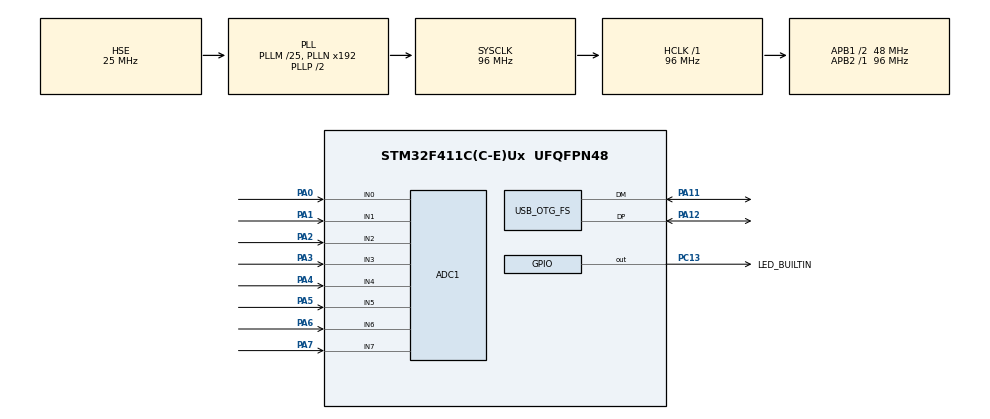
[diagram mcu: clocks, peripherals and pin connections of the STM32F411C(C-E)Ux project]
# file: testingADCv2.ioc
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ADC1.Channel-0\#ChannelRegularConversion=ADC_CHANNEL_0
ADC1.Channel-1\#ChannelRegularConversion=ADC_CHANNEL_0
ADC1.Channel-2\#ChannelRegularConversion=ADC_CHANNEL_0
ADC1.Channel-3\#ChannelRegularConversion=ADC_CHANNEL_0
ADC1.Channel-4\#ChannelRegularConversion=ADC_CHANNEL_0
ADC1.Channel-5\#ChannelRegularConversion=ADC_CHANNEL_0
ADC1.Channel-6\#ChannelRegularConversion=ADC_CHANNEL_0
ADC1.Channel-7\#ChannelRegularConversion=ADC_CHANNEL_0
ADC1.NbrOfConversion=8
ADC1.NbrOfConversionFlag=1
ADC1.Rank-0\#ChannelRegularConversion=1
ADC1.Rank-1\#ChannelRegularConversion=2
ADC1.Rank-2\#ChannelRegularConversion=3
ADC1.Rank-3\#ChannelRegularConversion=4
ADC1.Rank-4\#ChannelRegularConversion=5
ADC1.Rank-5\#ChannelRegularConversion=6
ADC1.Rank-6\#ChannelRegularConversion=7
ADC1.Rank-7\#ChannelRegularConversion=8
ADC1.SamplingTime-0\#ChannelRegularConversion=ADC_SAMPLETIME_56CYCLES
ADC1.SamplingTime-1\#ChannelRegularConversion=ADC_SAMPLETIME_3CYCLES
ADC1.SamplingTime-2\#ChannelRegularConversion=ADC_SAMPLETIME_3CYCLES
ADC1.SamplingTime-3\#ChannelRegularConversion=ADC_SAMPLETIME_3CYCLES
ADC1.SamplingTime-4\#ChannelRegularConversion=ADC_SAMPLETIME_3CYCLES
ADC1.SamplingTime-5\#ChannelRegularConversion=ADC_SAMPLETIME_3CYCLES
ADC1.SamplingTime-6\#ChannelRegularConversion=ADC_SAMPLETIME_3CYCLES
ADC1.SamplingTime-7\#ChannelRegularConversion=ADC_SAMPLETIME_3CYCLES
ADC1.master=1
Dma.ADC1.0.Direction=DMA_PERIPH_TO_MEMORY
Dma.ADC1.0.FIFOMode=DMA_FIFOMODE_DISABLE
Dma.ADC1.0.Instance=DMA2_Stream0
Dma.ADC1.0.MemDataAlignment=DMA_MDATAALIGN_HALFWORD
Dma.ADC1.0.MemInc=DMA_MINC_ENABLE
Dma.ADC1.0.Mode=DMA_NORMAL
Dma.ADC1.0.PeriphDataAlignment=DMA_PDATAALIGN_HALFWORD
Dma.ADC1.0.PeriphInc=DMA_PINC_DISABLE
Dma.ADC1.0.Priority=DMA_PRIORITY_LOW
Dma.Request0=ADC1
Mcu.Family=STM32F4
Mcu.Name=STM32F411C(C-E)Ux
Mcu.Package=UFQFPN48
NVIC.ADC_IRQn=true\:0\:0\:false\:false\:true\:true\:true\:true
NVIC.DMA2_Stream0_IRQn=true\:0\:0\:false\:false\:true\:false\:true\:true
NVIC.OTG_FS_IRQn=true\:0\:0\:false\:false\:true\:true\:true\:true
NVIC.PriorityGroup=NVIC_PRIORITYGROUP_4
NVIC.TIM1_TRG_COM_TIM11_IRQn=true\:0\:0\:false\:false\:true\:true\:true\:true
NVIC.TIM1_UP_TIM10_IRQn=true\:0\:0\:false\:false\:true\:true\:true\:true
PA0-WKUP.Signal=ADCx_IN0
PA1.Signal=ADCx_IN1
PA11.Mode=Device_Only
PA11.Signal=USB_OTG_FS_DM
PA12.Mode=Device_Only
PA12.Signal=USB_OTG_FS_DP
PA13.Mode=Serial_Wire
PA13.Signal=SYS_JTMS-SWDIO
PA14.Mode=Serial_Wire
PA14.Signal=SYS_JTCK-SWCLK
PA2.Signal=ADCx_IN2
PA3.Signal=ADCx_IN3
PA4.Signal=ADCx_IN4
PA5.Signal=ADCx_IN5
PA6.Signal=ADCx_IN6
PA7.Signal=ADCx_IN7
PC13-ANTI_TAMP.GPIO_Label=LED_BUILTIN
PC13-ANTI_TAMP.Signal=GPIO_Output
PC14-OSC32_IN.Mode=LSE-External-Oscillator
PC14-OSC32_IN.Signal=RCC_OSC32_IN
PC15-OSC32_OUT.Mode=LSE-External-Oscillator
PC15-OSC32_OUT.Signal=RCC_OSC32_OUT
PH0\ -\ OSC_IN.Mode=HSE-External-Oscillator
PH0\ -\ OSC_IN.Signal=RCC_OSC_IN
PH1\ -\ OSC_OUT.Mode=HSE-External-Oscillator
PH1\ -\ OSC_OUT.Signal=RCC_OSC_OUT
ProjectManager.HeapSize=0x200
ProjectManager.StackSize=0x400
ProjectManager.TargetToolchain=STM32CubeIDE
RCC.48MHZClocksFreq_Value=48000000
RCC.AHBFreq_Value=96000000
RCC.APB1CLKDivider=RCC_HCLK_DIV2
RCC.APB1Freq_Value=48000000
RCC.APB1TimFreq_Value=96000000
RCC.APB2Freq_Value=96000000
RCC.APB2TimFreq_Value=96000000
RCC.CortexFreq_Value=96000000
RCC.HCLKFreq_Value=96000000
RCC.HSE_VALUE=25000000
RCC.HSI_VALUE=16000000
RCC.PLLM=25
RCC.SYSCLKFreq_VALUE=96000000
RCC.SYSCLKSource=RCC_SYSCLKSOURCE_PLLCLK
RCC.VCOOutputFreq_Value=192000000
SH.ADCx_IN0.0=ADC1_IN0,IN0
SH.ADCx_IN1.0=ADC1_IN1,IN1
SH.ADCx_IN2.0=ADC1_IN2,IN2
SH.ADCx_IN3.0=ADC1_IN3,IN3
SH.ADCx_IN4.0=ADC1_IN4,IN4
SH.ADCx_IN5.0=ADC1_IN5,IN5
SH.ADCx_IN6.0=ADC1_IN6,IN6
SH.ADCx_IN7.0=ADC1_IN7,IN7
TIM10.Period=23999
TIM11.Period=23999
TIM11.Prescaler=0
USB_DEVICE.APP_RX_DATA_SIZE=512
USB_DEVICE.APP_TX_DATA_SIZE=512
USB_DEVICE.CLASS_NAME_FS=CDC
USB_DEVICE.VirtualMode=Cdc
USB_DEVICE.VirtualModeFS=Cdc_FS
USB_OTG_FS.VirtualMode=Device_Only
VP_TIM10_VS_ClockSourceINT.Mode=Enable_Timer
VP_TIM11_VS_ClockSourceINT.Mode=Enable_Timer
VP_USB_DEVICE_VS_USB_DEVICE_CDC_FS.Mode=CDC_FS
board=custom

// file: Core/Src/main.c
/* USER CODE BEGIN Header */
/**
  ******************************************************************************
  * @file           : main.c
  * @brief          : Main program body
  ******************************************************************************
  * @attention
  *
  * Copyright (c) 2025 STMicroelectronics.
  * All rights reserved.
  *
  * This software is licensed under terms that can be found in the LICENSE file
  * in the root directory of this software component.
  * If no LICENSE file comes with this software, it is provided AS-IS.
  *
  ******************************************************************************
  */
/* USER CODE END Header */
#include "main.h"
#include "usb_device.h"

/* USER CODE BEGIN Includes */
#include "usbd_cdc_if.h"
/* USER CODE END Includes */

/* USER CODE BEGIN PM */
#define ADC_MAX_CHANNELS 8

typedef union{
	float f;
	int i32;
	unsigned int ui32;
	short i16[2];
	unsigned short ui16[2];
	char i8[4];
	unsigned char ui8[4];
}u_conv;

/* USER CODE END PM */

ADC_HandleTypeDef hadc1;
DMA_HandleTypeDef hdma_adc1;

TIM_HandleTypeDef htim10;
TIM_HandleTypeDef htim11;

/* USER CODE BEGIN PV */
uint8_t bufTx[8];
uint8_t BufUSBTx[256];
uint8_t nBytesTx;
uint8_t is10ms = 40;
uint8_t is250ms = 25;
uint16_t adcraws[ADC_MAX_CHANNELS];
u_conv u_part;
/* USER CODE END PV */

void SystemClock_Config(void);
static void MX_GPIO_Init(void);
static void MX_DMA_Init(void);
static void MX_ADC1_Init(void);
static void MX_TIM11_Init(void);
static void MX_TIM10_Init(void);
/* USER CODE BEGIN PFP */
void USBRxData(uint8_t *buf, uint32_t Len);
/* USER CODE END PFP */

/* USER CODE BEGIN 0 */
void HAL_TIM_PeriodElapsedCallback(TIM_HandleTypeDef *htim){
	if(htim->Instance == TIM11){
		HAL_ADC_Start_DMA(&hadc1, (uint32_t*)&adcraws, 8);
		if(is10ms)
			is10ms--;

	}
	if(htim->Instance == TIM10){

	}
}
void HAL_ADC_ConvCpltCallback(ADC_HandleTypeDef *hadc){
	u_part.ui16[0] = adcraws[0];
	//bufTx[0] = 'I';
	//bufTx[1] = 'R';
	//bufTx[2] = ':';
	bufTx[0] = u_part.ui8[0];
	bufTx[1] = u_part.ui8[1];
	//bufTx[2] = '\n';

}
void USBRxData(uint8_t *buf, uint32_t Len){
	BufUSBTx[0] = 'U';
    BufUSBTx[1] = 'N';
	BufUSBTx[2] = 'E';
	BufUSBTx[3] = 'R';

	for(uint8_t nBytesTx = 0;nBytesTx<Len;nBytesTx++){
		BufUSBTx[nBytesTx+4] = buf[nBytesTx];
	}
	nBytesTx+=4;
}
/* USER CODE END 0 */

int main(void)
{

  /* MCU Configuration--------------------------------------------------------*/

  /* Reset of all peripherals, Initializes the Flash interface and the Systick. */
  HAL_Init();

  /* USER CODE BEGIN Init */
  //HAL_ADC_Start_DMA(hadc, pData, Length);
  /* USER CODE END Init */

  /* Configure the system clock */
  SystemClock_Config();

  /* Initialize all configured peripherals */
  MX_GPIO_Init();
  MX_DMA_Init();
  MX_ADC1_Init();
  MX_USB_DEVICE_Init();
  MX_TIM11_Init();
  MX_TIM10_Init();
  /* USER CODE BEGIN 2 */
  HAL_TIM_Base_Start_IT(&htim11);
  HAL_TIM_Base_Start_IT(&htim10);
  CDC_Attach_Rx(USBRxData);
  nBytesTx = 0;
  /* USER CODE END 2 */

  /* Infinite loop */
  while (1)
  {

    /* USER CODE BEGIN 3 */
	  if(!is10ms){
		  is10ms = 40;
		  is250ms--;
	  }
	  if(!is250ms){
		  is250ms = 25;
		  HAL_GPIO_TogglePin(LED_BUILTIN_GPIO_Port, LED_BUILTIN_Pin);
		  if(CDC_Transmit_FS(BufUSBTx,nBytesTx) == USBD_OK)
			  nBytesTx = 0;
	  }
	  HAL_Delay(250);
  }
  /* USER CODE END 3 */
}
void SystemClock_Config(void)
{
  RCC_OscInitTypeDef RCC_OscInitStruct = {0};
  RCC_ClkInitTypeDef RCC_ClkInitStruct = {0};

  /** Configure the main internal regulator output voltage
  */
  __HAL_RCC_PWR_CLK_ENABLE();
  __HAL_PWR_VOLTAGESCALING_CONFIG(PWR_REGULATOR_VOLTAGE_SCALE1);

  /** Initializes the RCC Oscillators according to the specified parameters
  * in the RCC_OscInitTypeDef structure.
  */
  RCC_OscInitStruct.OscillatorType = RCC_OSCILLATORTYPE_HSE;
  RCC_OscInitStruct.HSEState = RCC_HSE_ON;
  RCC_OscInitStruct.PLL.PLLState = RCC_PLL_ON;
  RCC_OscInitStruct.PLL.PLLSource = RCC_PLLSOURCE_HSE;
  RCC_OscInitStruct.PLL.PLLM = 25;
  RCC_OscInitStruct.PLL.PLLN = 192;
  RCC_OscInitStruct.PLL.PLLP = RCC_PLLP_DIV2;
  RCC_OscInitStruct.PLL.PLLQ = 4;
  if (HAL_RCC_OscConfig(&RCC_OscInitStruct) != HAL_OK)
  {
    Error_Handler();
  }

  /** Initializes the CPU, AHB and APB buses clocks
  */
  RCC_ClkInitStruct.ClockType = RCC_CLOCKTYPE_HCLK|RCC_CLOCKTYPE_SYSCLK
                              |RCC_CLOCKTYPE_PCLK1|RCC_CLOCKTYPE_PCLK2;
  RCC_ClkInitStruct.SYSCLKSource = RCC_SYSCLKSOURCE_PLLCLK;
  RCC_ClkInitStruct.AHBCLKDivider = RCC_SYSCLK_DIV1;
  RCC_ClkInitStruct.APB1CLKDivider = RCC_HCLK_DIV2;
  RCC_ClkInitStruct.APB2CLKDivider = RCC_HCLK_DIV1;

  if (HAL_RCC_ClockConfig(&RCC_ClkInitStruct, FLASH_LATENCY_3) != HAL_OK)
  {
    Error_Handler();
  }
}

static void MX_ADC1_Init(void)
{

  ADC_ChannelConfTypeDef sConfig = {0};

  /** Configure the global features of the ADC (Clock, Resolution, Data Alignment and number of conversion)
  */
  hadc1.Instance = ADC1;
  hadc1.Init.ClockPrescaler = ADC_CLOCK_SYNC_PCLK_DIV4;
  hadc1.Init.Resolution = ADC_RESOLUTION_12B;
  hadc1.Init.ScanConvMode = ENABLE;
  hadc1.Init.ContinuousConvMode = DISABLE;
  hadc1.Init.DiscontinuousConvMode = DISABLE;
  hadc1.Init.ExternalTrigConvEdge = ADC_EXTERNALTRIGCONVEDGE_NONE;
  hadc1.Init.ExternalTrigConv = ADC_SOFTWARE_START;
  hadc1.Init.DataAlign = ADC_DATAALIGN_RIGHT;
  hadc1.Init.NbrOfConversion = 8;
  hadc1.Init.DMAContinuousRequests = DISABLE;
  hadc1.Init.EOCSelection = ADC_EOC_SINGLE_CONV;
  if (HAL_ADC_Init(&hadc1) != HAL_OK)
  {
    Error_Handler();
  }

  /** Configure for the selected ADC regular channel its corresponding rank in the sequencer and its sample time.
  */
  sConfig.Channel = ADC_CHANNEL_0;
  sConfig.Rank = 1;
  sConfig.SamplingTime = ADC_SAMPLETIME_56CYCLES;
  if (HAL_ADC_ConfigChannel(&hadc1, &sConfig) != HAL_OK)
  {
    Error_Handler();
  }

  /** Configure for the selected ADC regular channel its corresponding rank in the sequencer and its sample time.
  */
  sConfig.Rank = 2;
  sConfig.SamplingTime = ADC_SAMPLETIME_3CYCLES;
  if (HAL_ADC_ConfigChannel(&hadc1, &sConfig) != HAL_OK)
  {
    Error_Handler();
  }

  /** Configure for the selected ADC regular channel its corresponding rank in the sequencer and its sample time.
  */
  sConfig.Rank = 3;
  if (HAL_ADC_ConfigChannel(&hadc1, &sConfig) != HAL_OK)
  {
    Error_Handler();
  }

  /** Configure for the selected ADC regular channel its corresponding rank in the sequencer and its sample time.
  */
  sConfig.Rank = 4;
  if (HAL_ADC_ConfigChannel(&hadc1, &sConfig) != HAL_OK)
  {
    Error_Handler();
  }

  /** Configure for the selected ADC regular channel its corresponding rank in the sequencer and its sample time.
  */
  sConfig.Rank = 5;
  if (HAL_ADC_ConfigChannel(&hadc1, &sConfig) != HAL_OK)
  {
    Error_Handler();
  }

  /** Configure for the selected ADC regular channel its corresponding rank in the sequencer and its sample time.
  */
  sConfig.Rank = 6;
  if (HAL_ADC_ConfigChannel(&hadc1, &sConfig) != HAL_OK)
  {
    Error_Handler();
  }

  /** Configure for the selected ADC regular channel its corresponding rank in the sequencer and its sample time.
  */
  sConfig.Rank = 7;
  if (HAL_ADC_ConfigChannel(&hadc1, &sConfig) != HAL_OK)
  {
    Error_Handler();
  }

  /** Configure for the selected ADC regular channel its corresponding rank in the sequencer and its sample time.
  */
  sConfig.Rank = 8;
  if (HAL_ADC_ConfigChannel(&hadc1, &sConfig) != HAL_OK)
  {
    Error_Handler();
  }

}

static void MX_TIM10_Init(void)
{

  htim10.Instance = TIM10;
  htim10.Init.Prescaler = 0;
  htim10.Init.CounterMode = TIM_COUNTERMODE_UP;
  htim10.Init.Period = 23999;
  htim10.Init.ClockDivision = TIM_CLOCKDIVISION_DIV1;
  htim10.Init.AutoReloadPreload = TIM_AUTORELOAD_PRELOAD_DISABLE;
  if (HAL_TIM_Base_Init(&htim10) != HAL_OK)
  {
    Error_Handler();
  }

}

static void MX_TIM11_Init(void)
{

  htim11.Instance = TIM11;
  htim11.Init.Prescaler = 0;
  htim11.Init.CounterMode = TIM_COUNTERMODE_UP;
  htim11.Init.Period = 23999;
  htim11.Init.ClockDivision = TIM_CLOCKDIVISION_DIV1;
  htim11.Init.AutoReloadPreload = TIM_AUTORELOAD_PRELOAD_DISABLE;
  if (HAL_TIM_Base_Init(&htim11) != HAL_OK)
  {
    Error_Handler();
  }

}

static void MX_DMA_Init(void)
{

  /* DMA controller clock enable */
  __HAL_RCC_DMA2_CLK_ENABLE();

  /* DMA interrupt init */
  /* DMA2_Stream0_IRQn interrupt configuration */
  HAL_NVIC_SetPriority(DMA2_Stream0_IRQn, 0, 0);
  HAL_NVIC_EnableIRQ(DMA2_Stream0_IRQn);

}

static void MX_GPIO_Init(void)
{
  GPIO_InitTypeDef GPIO_InitStruct = {0};

  /* GPIO Ports Clock Enable */
  __HAL_RCC_GPIOC_CLK_ENABLE();
  __HAL_RCC_GPIOH_CLK_ENABLE();
  __HAL_RCC_GPIOA_CLK_ENABLE();

  /*Configure GPIO pin Output Level */
  HAL_GPIO_WritePin(LED_BUILTIN_GPIO_Port, LED_BUILTIN_Pin, GPIO_PIN_RESET);

  /*Configure GPIO pin : LED_BUILTIN_Pin */
  GPIO_InitStruct.Pin = LED_BUILTIN_Pin;
  GPIO_InitStruct.Mode = GPIO_MODE_OUTPUT_PP;
  GPIO_InitStruct.Pull = GPIO_NOPULL;
  GPIO_InitStruct.Speed = GPIO_SPEED_FREQ_LOW;
  HAL_GPIO_Init(LED_BUILTIN_GPIO_Port, &GPIO_InitStruct);

}

void Error_Handler(void)
{
  __disable_irq();
  while (1)
  {
  }
}
